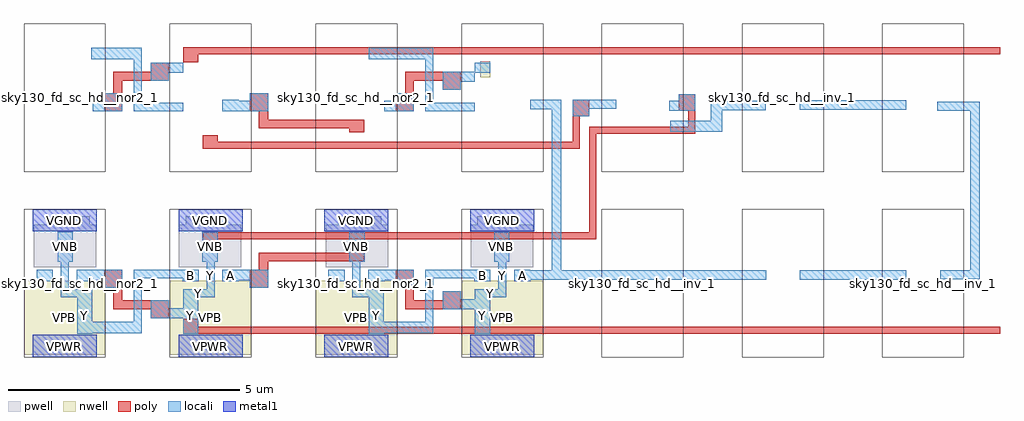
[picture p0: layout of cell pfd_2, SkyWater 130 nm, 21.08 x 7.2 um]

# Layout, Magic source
magic
tech sky130A
magscale 1 2
<< nwell >>
rect 1932 362 1976 430
rect -38 -838 314 -517
rect 592 -838 944 -517
rect 1222 -838 1574 -517
rect 1852 -838 2204 -517
<< pwell >>
rect 212 -277 246 -239
rect 660 -277 694 -239
rect 1472 -277 1506 -239
rect 1920 -277 1954 -239
rect 5 -459 275 -277
rect 631 -459 901 -277
rect 1265 -459 1535 -277
rect 1891 -459 2161 -277
<< poly >>
rect 650 460 4178 490
rect 650 426 715 460
rect 510 386 588 424
rect 348 346 588 386
rect 1608 346 1848 386
rect 348 292 386 346
rect 1608 292 1646 346
rect 1770 308 1848 346
rect 308 214 386 292
rect 938 214 1016 292
rect 1568 214 1646 292
rect 976 178 1016 214
rect 2332 192 2404 264
rect 2790 216 2862 288
rect 976 140 1432 178
rect 1368 124 1432 140
rect 734 82 798 110
rect 2332 82 2362 192
rect 2832 148 2862 216
rect 734 52 2362 82
rect 2404 118 2862 148
rect 2404 -308 2434 118
rect 734 -338 2434 -308
rect 734 -366 798 -338
rect 1368 -396 1432 -380
rect 976 -434 1432 -396
rect 976 -470 1016 -434
rect 308 -548 386 -470
rect 938 -548 1016 -470
rect 1568 -548 1646 -470
rect 348 -602 386 -548
rect 1608 -602 1646 -548
rect 1770 -602 1848 -564
rect 348 -642 588 -602
rect 1608 -642 1848 -602
rect 510 -680 588 -642
rect 650 -716 715 -682
rect 650 -746 4178 -716
<< locali >>
rect 252 438 470 488
rect 1451 438 1730 488
rect 308 260 386 292
rect 258 214 386 260
rect 436 252 470 438
rect 510 380 650 424
rect 510 346 588 380
rect 819 260 889 265
rect 938 260 1016 292
rect 1568 260 1646 292
rect 436 214 650 252
rect 819 215 1016 260
rect 888 214 1016 215
rect 1518 214 1646 260
rect 1696 252 1730 438
rect 1910 386 1975 424
rect 1770 380 1975 386
rect 1770 342 1910 380
rect 1770 308 1848 342
rect 1696 214 1910 252
rect 2148 224 2282 264
rect 107 -435 173 -307
rect 733 -435 799 -307
rect 1367 -435 1433 -307
rect 1993 -435 2059 -307
rect 17 -521 87 -471
rect 121 -555 155 -435
rect 258 -471 386 -470
rect 189 -516 386 -471
rect 189 -521 259 -516
rect 308 -548 386 -516
rect 436 -471 650 -470
rect 436 -508 717 -471
rect 121 -589 257 -555
rect 191 -694 257 -589
rect 436 -694 470 -508
rect 647 -521 717 -508
rect 751 -555 785 -435
rect 888 -471 1016 -470
rect 819 -516 1016 -471
rect 819 -521 889 -516
rect 938 -548 1016 -516
rect 1277 -521 1347 -471
rect 649 -589 785 -555
rect 1381 -555 1415 -435
rect 1518 -471 1646 -470
rect 1449 -516 1646 -471
rect 1449 -521 1519 -516
rect 1568 -548 1646 -516
rect 1696 -471 1910 -470
rect 1696 -508 1977 -471
rect 1381 -589 1517 -555
rect 510 -636 588 -602
rect 649 -636 715 -589
rect 510 -680 715 -636
rect 191 -744 470 -694
rect 191 -746 257 -744
rect 649 -746 715 -680
rect 1451 -694 1517 -589
rect 1696 -694 1730 -508
rect 1907 -521 1977 -508
rect 2011 -555 2045 -435
rect 2079 -472 2149 -471
rect 2242 -472 2282 224
rect 2332 226 2520 264
rect 2790 260 2862 288
rect 2332 192 2404 226
rect 2750 216 2862 260
rect 2930 258 3166 260
rect 2928 218 3166 258
rect 3312 220 3772 262
rect 2928 174 2978 218
rect 3908 216 4090 256
rect 2754 126 2978 174
rect 4050 -472 4090 216
rect 2079 -514 3168 -472
rect 3314 -514 3774 -472
rect 3920 -512 4090 -472
rect 2079 -521 2149 -514
rect 1770 -598 1848 -564
rect 1909 -589 2045 -555
rect 1909 -598 1975 -589
rect 1770 -642 1975 -598
rect 1451 -744 1730 -694
rect 1451 -746 1517 -744
rect 1909 -746 1975 -642
<< metal1 >>
rect 0 -304 276 -208
rect 630 -304 906 -208
rect 1260 -304 1536 -208
rect 1890 -304 2166 -208
rect 0 -848 276 -752
rect 630 -848 906 -752
rect 1260 -848 1536 -752
rect 1890 -848 2166 -752
use sky130_fd_sc_hd__inv_1  sky130_fd_sc_hd__inv_1_0
transform -1 0 2772 0 -1 -256
box -38 -48 314 592
use sky130_fd_sc_hd__inv_1  sky130_fd_sc_hd__inv_1_1
transform 1 0 3102 0 1 0
box -38 -48 314 592
use sky130_fd_sc_hd__inv_1  sky130_fd_sc_hd__inv_1_2
transform 1 0 3708 0 1 0
box -38 -48 314 592
use sky130_fd_sc_hd__inv_1  sky130_fd_sc_hd__inv_1_3
transform -1 0 3984 0 -1 -256
box -38 -48 314 592
use sky130_fd_sc_hd__inv_1  sky130_fd_sc_hd__inv_1_4
transform -1 0 3378 0 -1 -256
box -38 -48 314 592
use sky130_fd_sc_hd__nand2_1  sky130_fd_sc_hd__nand2_1_1
transform 1 0 2496 0 1 0
box -38 -48 314 592
use sky130_fd_sc_hd__nor2_1  sky130_fd_sc_hd__nor2_1_0
transform -1 0 276 0 1 0
box -38 -48 314 592
use sky130_fd_sc_hd__nor2_1  sky130_fd_sc_hd__nor2_1_1
transform 1 0 630 0 1 0
box -38 -48 314 592
use sky130_fd_sc_hd__nor2_1  sky130_fd_sc_hd__nor2_1_2
transform -1 0 1536 0 1 0
box -38 -48 314 592
use sky130_fd_sc_hd__nor2_1  sky130_fd_sc_hd__nor2_1_3
transform 1 0 1890 0 1 0
box -38 -48 314 592
use sky130_fd_sc_hd__nor2_1  sky130_fd_sc_hd__nor2_1_4
transform -1 0 276 0 -1 -256
box -38 -48 314 592
use sky130_fd_sc_hd__nor2_1  sky130_fd_sc_hd__nor2_1_5
transform 1 0 630 0 -1 -256
box -38 -48 314 592
use sky130_fd_sc_hd__nor2_1  sky130_fd_sc_hd__nor2_1_6
transform -1 0 1536 0 -1 -256
box -38 -48 314 592
use sky130_fd_sc_hd__nor2_1  sky130_fd_sc_hd__nor2_1_7
transform 1 0 1890 0 -1 -256
box -38 -48 314 592
<< labels >>
rlabel locali s 819 215 889 265 4 sky130_fd_sc_hd__nor2_1_2/B
port 2 nsew signal input
rlabel locali s 819 -521 889 -471 2 sky130_fd_sc_hd__nor2_1_2/B
port 2 nsew signal input
rlabel locali s 819 -521 889 -471 8 A
port 1 nsew signal input
rlabel locali s 647 -521 717 -471 8 B
port 2 nsew signal input
rlabel metal1 s 630 -304 906 -208 6 VGND
port 3 nsew ground bidirectional abutment
rlabel pwell s 660 -277 694 -239 8 VNB
port 4 nsew ground bidirectional
rlabel pwell s 631 -459 901 -277 8 VNB
port 4 nsew ground bidirectional
rlabel nwell s 592 -838 944 -517 8 VPB
port 5 nsew power bidirectional
rlabel metal1 s 630 -848 906 -752 8 VPWR
port 6 nsew power bidirectional abutment
rlabel locali s 733 -435 799 -307 8 Y
port 7 nsew signal output
rlabel locali s 751 -555 785 -435 8 Y
port 7 nsew signal output
rlabel locali s 649 -589 785 -555 8 Y
port 7 nsew signal output
rlabel locali s 649 -746 715 -589 8 Y
port 7 nsew signal output
rlabel locali s 17 -521 87 -471 2 A
port 1 nsew signal input
rlabel locali s 189 -521 259 -471 2 B
port 2 nsew signal input
rlabel metal1 s 0 -304 276 -208 4 VGND
port 3 nsew ground bidirectional abutment
rlabel pwell s 212 -277 246 -239 2 VNB
port 4 nsew ground bidirectional
rlabel pwell s 5 -459 275 -277 2 VNB
port 4 nsew ground bidirectional
rlabel nwell s -38 -838 314 -517 2 VPB
port 5 nsew power bidirectional
rlabel metal1 s 0 -848 276 -752 2 VPWR
port 6 nsew power bidirectional abutment
rlabel locali s 107 -435 173 -307 2 Y
port 7 nsew signal output
rlabel locali s 121 -555 155 -435 2 Y
port 7 nsew signal output
rlabel locali s 121 -589 257 -555 2 Y
port 7 nsew signal output
rlabel locali s 191 -746 257 -589 2 Y
port 7 nsew signal output
rlabel locali s 1277 -521 1347 -471 2 A
port 1 nsew signal input
rlabel locali s 1449 -521 1519 -471 2 B
port 2 nsew signal input
rlabel metal1 s 1260 -304 1536 -208 4 VGND
port 3 nsew ground bidirectional abutment
rlabel pwell s 1472 -277 1506 -239 2 VNB
port 4 nsew ground bidirectional
rlabel pwell s 1265 -459 1535 -277 2 VNB
port 4 nsew ground bidirectional
rlabel nwell s 1222 -838 1574 -517 2 VPB
port 5 nsew power bidirectional
rlabel metal1 s 1260 -848 1536 -752 2 VPWR
port 6 nsew power bidirectional abutment
rlabel locali s 1367 -435 1433 -307 2 Y
port 7 nsew signal output
rlabel locali s 1381 -555 1415 -435 2 Y
port 7 nsew signal output
rlabel locali s 1381 -589 1517 -555 2 Y
port 7 nsew signal output
rlabel locali s 1451 -746 1517 -589 2 Y
port 7 nsew signal output
rlabel locali s 2079 -521 2149 -471 8 A
port 1 nsew signal input
rlabel locali s 1907 -521 1977 -471 8 B
port 2 nsew signal input
rlabel metal1 s 1890 -304 2166 -208 6 VGND
port 3 nsew ground bidirectional abutment
rlabel pwell s 1920 -277 1954 -239 8 VNB
port 4 nsew ground bidirectional
rlabel pwell s 1891 -459 2161 -277 8 VNB
port 4 nsew ground bidirectional
rlabel nwell s 1852 -838 2204 -517 8 VPB
port 5 nsew power bidirectional
rlabel metal1 s 1890 -848 2166 -752 8 VPWR
port 6 nsew power bidirectional abutment
rlabel locali s 1993 -435 2059 -307 8 Y
port 7 nsew signal output
rlabel locali s 2011 -555 2045 -435 8 Y
port 7 nsew signal output
rlabel locali s 1909 -589 2045 -555 8 Y
port 7 nsew signal output
rlabel locali s 1909 -746 1975 -589 8 Y
port 7 nsew signal output
<< end >>
